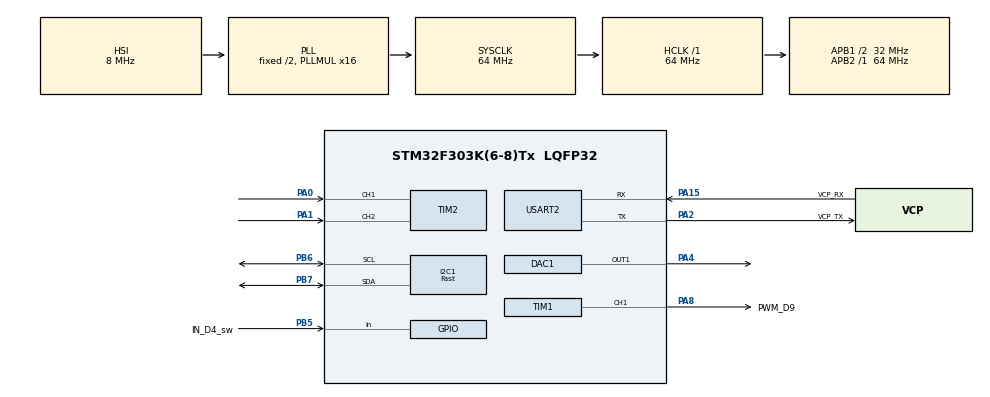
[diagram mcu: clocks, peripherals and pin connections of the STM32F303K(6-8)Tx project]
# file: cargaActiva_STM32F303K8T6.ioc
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I2C1.I2C_Speed_Mode=I2C_Fast
I2C1.Timing=0x0000020B
Mcu.Family=STM32F3
Mcu.Name=STM32F303K(6-8)Tx
Mcu.Package=LQFP32
NVIC.PriorityGroup=NVIC_PRIORITYGROUP_4
NVIC.TIM7_DAC2_IRQn=true\:0\:0\:false\:false\:true\:true\:true\:true
PA0.GPIO_PuPd=GPIO_NOPULL
PA0.Signal=S_TIM2_CH1_ETR
PA1.GPIO_PuPd=GPIO_NOPULL
PA1.Signal=S_TIM2_CH2
PA13.GPIO_Label=SWDIO
PA13.Mode=Serial_Wire
PA13.Signal=SYS_JTMS-SWDIO
PA14.GPIO_Label=SWCLK
PA14.Mode=Serial_Wire
PA14.Signal=SYS_JTCK-SWCLK
PA15.GPIO_Label=VCP_RX
PA15.Mode=Asynchronous
PA15.Signal=USART2_RX
PA2.GPIO_Label=VCP_TX
PA2.Mode=Asynchronous
PA2.Signal=USART2_TX
PA4.Signal=COMP_DAC11_group
PA8.GPIO_Label=PWM_D9
PA8.Signal=S_TIM1_CH1
PB5.GPIO_Label=IN_D4_sw
PB5.GPIO_PuPd=GPIO_PULLUP
PB5.Signal=GPIO_Input
PB6.Mode=I2C
PB6.Signal=I2C1_SCL
PB7.Mode=I2C
PB7.Signal=I2C1_SDA
PF0\ /\ OSC_IN.GPIO_Label=MCO
PF0\ /\ OSC_IN.Mode=HSE-External-Clock-Source
PF0\ /\ OSC_IN.Signal=RCC_OSC_IN
ProjectManager.HeapSize=0x200
ProjectManager.StackSize=0x400
ProjectManager.TargetToolchain=STM32CubeIDE
RCC.AHBFreq_Value=64000000
RCC.APB1CLKDivider=RCC_HCLK_DIV2
RCC.APB1Freq_Value=32000000
RCC.APB1TimFreq_Value=64000000
RCC.APB2Freq_Value=64000000
RCC.APB2TimFreq_Value=64000000
RCC.CortexFreq_Value=64000000
RCC.HCLKFreq_Value=64000000
RCC.HSE_VALUE=8000000
RCC.HSI_VALUE=8000000
RCC.PLLMUL=RCC_PLL_MUL16
RCC.SYSCLKFreq_VALUE=64000000
RCC.SYSCLKSourceVirtual=RCC_SYSCLKSOURCE_PLLCLK
SH.COMP_DAC11_group.0=DAC1_OUT1,DAC_OUT1
SH.S_TIM1_CH1.0=TIM1_CH1,PWM Generation1 CH1
SH.S_TIM2_CH1_ETR.0=TIM2_CH1,Encoder_Interface
SH.S_TIM2_CH2.0=TIM2_CH2,Encoder_Interface
TIM1.Channel-PWM\ Generation1\ CH1=TIM_CHANNEL_1
TIM1.Period=100-1
TIM1.Prescaler=20-1
TIM2.CounterMode=TIM_COUNTERMODE_UP
TIM2.EncoderMode=TIM_ENCODERMODE_TI1
TIM2.IC1Polarity=TIM_ICPOLARITY_RISING
TIM2.IC2Polarity=TIM_ICPOLARITY_RISING
TIM7.Period=1000-1
TIM7.Prescaler=640-1
USART2.VirtualMode-Asynchronous=VM_ASYNC
VP_TIM1_VS_ClockSourceINT.Mode=Internal
VP_TIM7_VS_ClockSourceINT.Mode=Enable_Timer
board=NUCLEO-F303K8

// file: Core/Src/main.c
/* USER CODE BEGIN Header */
/**
  ******************************************************************************
  * @file           : main.c
  * @brief          : Main program body
  ******************************************************************************
  * @attention
  *
  * Copyright (c) 2023 STMicroelectronics.
  * All rights reserved.
  *
  * This software is licensed under terms that can be found in the LICENSE file
  * in the root directory of this software component.
  * If no LICENSE file comes with this software, it is provided AS-IS.
  *
  ******************************************************************************
  */
/* USER CODE END Header */
#include "main.h"
#include "dac.h"
#include "i2c.h"
#include "tim.h"
#include "usart.h"
#include "gpio.h"

/* USER CODE BEGIN Includes */
#include "lcd_i2c_lfs.h"
#include "INA219.h"
#include "menu_cargaActiva.h"
/* USER CODE END Includes */

/* USER CODE BEGIN PV */
int32_t lecturaEnc;
uint8_t flag_tim7 = 0;
uint8_t periodo_enc = 0;
uint8_t periodo_impMed = 0;
uint8_t lectura_boton = 1;
uint8_t last_boton = 1;
uint8_t flag_enableDAC = 0;
INA219_t ina219;
float corriente;
int32_t medida_potencia;
int32_t medida_corriente;
uint16_t vshunt;
uint16_t raw_c;
uint8_t rango_I = 0;
float factor_rango = 1.4615384615f;
uint16_t cal_dinamico [58] = {
		4059,
		4028,
		4018,
		4009,
		4010,
		4009,
		3999,
		3993,
		4002,
		4002,
		3998,
		3996,
		3993,
		3988,
		3981,
		3980,
		3977,
		3976,
		3971,
		3971,
		3967,
		3962,
		3958,
		3957,
		3951,
		3946,
		3937,
		3933,
		3929,
		3923,
		3917,
		3912,
		3906,
		3902,
		3893,
		3884,
		3877,
		3871,
		3865,
		3846,
		3842,
		3842,
		3843,
		3836,
		3830,
		3825,
		3820,
		3812,
		3806,
		3798,
		3790,
		3781,
		3773,
		3766,
		3758,
		3746,
		3735,
		3801,

};

float c2;
int16_t c3;

uint16_t testDAC = 0;
/* USER CODE END PV */

void SystemClock_Config(void);

int main(void)
{

  /* MCU Configuration--------------------------------------------------------*/

  /* Reset of all peripherals, Initializes the Flash interface and the Systick. */
  HAL_Init();

  /* USER CODE BEGIN Init */
  HAL_Delay(100);
  /* USER CODE END Init */

  /* Configure the system clock */
  SystemClock_Config();

  /* Initialize all configured peripherals */
  MX_GPIO_Init();
  MX_USART2_UART_Init();
  MX_TIM1_Init();
  MX_I2C1_Init();
  MX_TIM2_Init();
  MX_TIM7_Init();
  MX_DAC1_Init();
  /* USER CODE BEGIN 2 */
  HAL_TIM_Base_Start_IT(&htim7); //overflow: 10 ms
  HAL_TIM_Encoder_Start_IT(&htim2, TIM_CHANNEL_ALL);

//  for (uint8_t i = 0; i < 128; i++){
//	  uint32_t i2c_status = HAL_I2C_IsDeviceReady(&hi2c1, (uint16_t)(i<<1), 1, 10);
//	  if(i2c_status == HAL_OK){
//		  __NOP();
//	  }
//  }

  lcd_init(&hi2c1, 0x27);

  INA219_Init(&ina219, &hi2c1, INA219_ADDRESS);

  //HAL_DAC_SetValue(&hdac2, DAC_CHANNEL_1, DAC_ALIGN_12B_R, 0); //en 0
  HAL_DAC_Start(&hdac1, DAC_CHANNEL_1);

  start_menu ();
  /* USER CODE END 2 */

  /* Infinite loop */
  /* USER CODE BEGIN WHILE */
  while (1)
  {

//	  HAL_DAC_SetValue(&hdac1, DAC_CHANNEL_1, DAC_ALIGN_12B_R, testDAC); //la mitad

	  corriente = INA219_ReadCurrent_float(&ina219);

	  c2 = corriente * 1000;
	  c3 = c2;

	  rango_I = corriente * factor_rango;
	  //rango_I = corriente * 20;

	  //if (!rango_I) rango_I++;

//	  INA219_setCalibration(&ina219, cal_dinamico[rango_I]);

	  switch (rango_I){
		  case 0:
			  INA219_setCalibration(&ina219, 4002);
		  break;
		  case 1:
			  INA219_setCalibration(&ina219, 3971);
		  break;
		  case 2:
			  INA219_setCalibration(&ina219, 3937);
		  break;
		  case 3:
			  INA219_setCalibration(&ina219, 3846);
		  break;
		  case 4:
			  INA219_setCalibration(&ina219, 3798);
		  break;
		  default:

		  break;
	  }

	  vshunt = INA219_ReadShuntVolage(&ina219);
	  raw_c = INA219_ReadCurrent_raw(&ina219);

	  medida_corriente = corriente * 1000;

//	  continue;
	  if (flag_tim7 != 0){
		  periodo_enc++;
		  periodo_impMed++;
		  flag_tim7 = 0;
	  } //end if flag_tim7

	  if (periodo_enc > 19){
		  lecturaEnc = __HAL_TIM_GET_COUNTER(&htim2);
		  __HAL_TIM_SET_COUNTER(&htim2, 0);
		  periodo_enc = 0;

		  lectura_boton = HAL_GPIO_ReadPin(IN_D4_sw_GPIO_Port, IN_D4_sw_Pin);

	  } //end if periodo_enc

	  check_menu();
	  last_boton = lectura_boton;

    /* USER CODE END WHILE */

  }
}

void SystemClock_Config(void)
{
  RCC_OscInitTypeDef RCC_OscInitStruct = {0};
  RCC_ClkInitTypeDef RCC_ClkInitStruct = {0};
  RCC_PeriphCLKInitTypeDef PeriphClkInit = {0};

  /** Initializes the RCC Oscillators according to the specified parameters
  * in the RCC_OscInitTypeDef structure.
  */
  RCC_OscInitStruct.OscillatorType = RCC_OSCILLATORTYPE_HSI;
  RCC_OscInitStruct.HSIState = RCC_HSI_ON;
  RCC_OscInitStruct.HSICalibrationValue = RCC_HSICALIBRATION_DEFAULT;
  RCC_OscInitStruct.PLL.PLLState = RCC_PLL_ON;
  RCC_OscInitStruct.PLL.PLLSource = RCC_PLLSOURCE_HSI;
  RCC_OscInitStruct.PLL.PLLMUL = RCC_PLL_MUL16;
  if (HAL_RCC_OscConfig(&RCC_OscInitStruct) != HAL_OK)
  {
    Error_Handler();
  }

  /** Initializes the CPU, AHB and APB buses clocks
  */
  RCC_ClkInitStruct.ClockType = RCC_CLOCKTYPE_HCLK|RCC_CLOCKTYPE_SYSCLK
                              |RCC_CLOCKTYPE_PCLK1|RCC_CLOCKTYPE_PCLK2;
  RCC_ClkInitStruct.SYSCLKSource = RCC_SYSCLKSOURCE_PLLCLK;
  RCC_ClkInitStruct.AHBCLKDivider = RCC_SYSCLK_DIV1;
  RCC_ClkInitStruct.APB1CLKDivider = RCC_HCLK_DIV2;
  RCC_ClkInitStruct.APB2CLKDivider = RCC_HCLK_DIV1;

  if (HAL_RCC_ClockConfig(&RCC_ClkInitStruct, FLASH_LATENCY_2) != HAL_OK)
  {
    Error_Handler();
  }
  PeriphClkInit.PeriphClockSelection = RCC_PERIPHCLK_I2C1|RCC_PERIPHCLK_TIM1;
  PeriphClkInit.I2c1ClockSelection = RCC_I2C1CLKSOURCE_HSI;
  PeriphClkInit.Tim1ClockSelection = RCC_TIM1CLK_HCLK;
  if (HAL_RCCEx_PeriphCLKConfig(&PeriphClkInit) != HAL_OK)
  {
    Error_Handler();
  }
}

/* USER CODE BEGIN 4 */
void HAL_TIM_PeriodElapsedCallback(TIM_HandleTypeDef *htim){
	if (htim->Instance == TIM7){
		flag_tim7 = 1;
	}
} //end HAL_TIM_PeriodElapsedCallback()

//void HAL_TIM_IC_CaptureCallback(TIM_HandleTypeDef *htim)
//{
//	lecturaEnc = __HAL_TIM_GET_COUNTER(htim);
//}
/* USER CODE END 4 */

void Error_Handler(void)
{
  __disable_irq();
  while (1)
  {
  }
}
